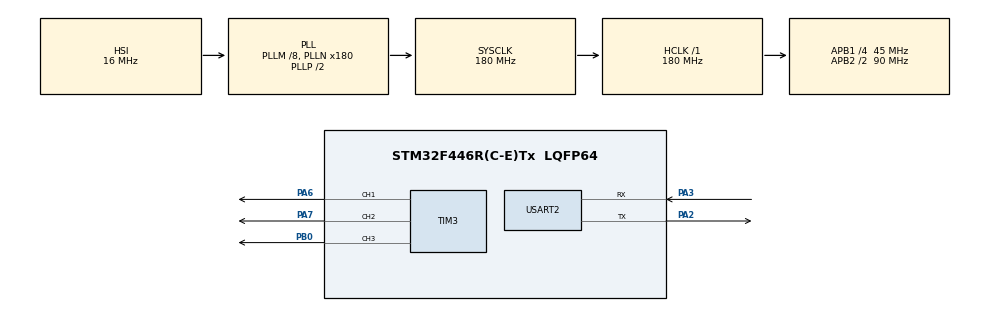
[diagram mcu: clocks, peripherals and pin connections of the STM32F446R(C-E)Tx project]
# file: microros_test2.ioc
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Dma.Request0=USART2_RX
Dma.Request1=USART2_TX
Dma.USART2_RX.0.Direction=DMA_PERIPH_TO_MEMORY
Dma.USART2_RX.0.FIFOMode=DMA_FIFOMODE_DISABLE
Dma.USART2_RX.0.Instance=DMA1_Stream5
Dma.USART2_RX.0.MemDataAlignment=DMA_MDATAALIGN_BYTE
Dma.USART2_RX.0.MemInc=DMA_MINC_ENABLE
Dma.USART2_RX.0.Mode=DMA_CIRCULAR
Dma.USART2_RX.0.PeriphDataAlignment=DMA_PDATAALIGN_BYTE
Dma.USART2_RX.0.PeriphInc=DMA_PINC_DISABLE
Dma.USART2_RX.0.Priority=DMA_PRIORITY_VERY_HIGH
Dma.USART2_TX.1.Direction=DMA_MEMORY_TO_PERIPH
Dma.USART2_TX.1.FIFOMode=DMA_FIFOMODE_DISABLE
Dma.USART2_TX.1.Instance=DMA1_Stream6
Dma.USART2_TX.1.MemDataAlignment=DMA_MDATAALIGN_BYTE
Dma.USART2_TX.1.MemInc=DMA_MINC_ENABLE
Dma.USART2_TX.1.Mode=DMA_NORMAL
Dma.USART2_TX.1.PeriphDataAlignment=DMA_PDATAALIGN_BYTE
Dma.USART2_TX.1.PeriphInc=DMA_PINC_DISABLE
Dma.USART2_TX.1.Priority=DMA_PRIORITY_VERY_HIGH
FREERTOS.Tasks01=defaultTask,24,3000,StartDefaultTask,Default,NULL,Dynamic,NULL,NULL;led1,24,128,Led1Task,Default,NULL,Dynamic,NULL,NULL;led2,24,128,Led2Task,Default,NULL,Dynamic,NULL,NULL
Mcu.Family=STM32F4
Mcu.Name=STM32F446R(C-E)Tx
Mcu.Package=LQFP64
NVIC.DMA1_Stream5_IRQn=true\:5\:0\:false\:false\:true\:true\:false\:true\:true
NVIC.DMA1_Stream6_IRQn=true\:5\:0\:false\:false\:true\:true\:false\:true\:true
NVIC.PriorityGroup=NVIC_PRIORITYGROUP_4
NVIC.TIM1_UP_TIM10_IRQn=true\:15\:0\:false\:false\:true\:false\:false\:true\:true
NVIC.TimeBase=TIM1_UP_TIM10_IRQn
NVIC.TimeBaseIP=TIM1
NVIC.USART2_IRQn=true\:5\:0\:false\:false\:true\:true\:true\:true\:true
PA2.Mode=Asynchronous
PA2.Signal=USART2_TX
PA3.Mode=Asynchronous
PA3.Signal=USART2_RX
PA6.Signal=S_TIM3_CH1
PA7.Signal=S_TIM3_CH2
PB0.Signal=S_TIM3_CH3
PH0-OSC_IN.Mode=HSE-External-Oscillator
PH0-OSC_IN.Signal=RCC_OSC_IN
PH1-OSC_OUT.Mode=HSE-External-Oscillator
PH1-OSC_OUT.Signal=RCC_OSC_OUT
ProjectManager.HeapSize=0x200
ProjectManager.StackSize=0x400
ProjectManager.TargetToolchain=STM32CubeIDE
RCC.AHBFreq_Value=180000000
RCC.APB1CLKDivider=RCC_HCLK_DIV4
RCC.APB1Freq_Value=45000000
RCC.APB1TimFreq_Value=90000000
RCC.APB2CLKDivider=RCC_HCLK_DIV2
RCC.APB2Freq_Value=90000000
RCC.APB2TimFreq_Value=180000000
RCC.CortexFreq_Value=180000000
RCC.HCLKFreq_Value=180000000
RCC.PLLM=8
RCC.PLLN=180
RCC.SYSCLKFreq_VALUE=180000000
RCC.SYSCLKSource=RCC_SYSCLKSOURCE_PLLCLK
RCC.USBFreq_Value=180000000
RCC.VCOOutputFreq_Value=360000000
SH.S_TIM3_CH1.0=TIM3_CH1,PWM Generation1 CH1
SH.S_TIM3_CH2.0=TIM3_CH2,PWM Generation2 CH2
SH.S_TIM3_CH3.0=TIM3_CH3,PWM Generation3 CH3
TIM3.AutoReloadPreload=TIM_AUTORELOAD_PRELOAD_ENABLE
TIM3.Channel-PWM\ Generation1\ CH1=TIM_CHANNEL_1
TIM3.Channel-PWM\ Generation2\ CH2=TIM_CHANNEL_2
TIM3.Channel-PWM\ Generation3\ CH3=TIM_CHANNEL_3
USART2.VirtualMode=VM_ASYNC
VP_FREERTOS_VS_CMSIS_V2.Mode=CMSIS_V2
VP_SYS_VS_tim1.Mode=TIM1
VP_TIM3_VS_ClockSourceINT.Mode=Internal
board=custom

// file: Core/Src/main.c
/* USER CODE BEGIN Header */
/**
  ******************************************************************************
  * @file           : main.c
  * @brief          : Main program body
  ******************************************************************************
  * @attention
  *
  * Copyright (c) 2023 STMicroelectronics.
  * All rights reserved.
  *
  * This software is licensed under terms that can be found in the LICENSE file
  * in the root directory of this software component.
  * If no LICENSE file comes with this software, it is provided AS-IS.
  *
  ******************************************************************************
  */
/* USER CODE END Header */
#include "main.h"
#include "cmsis_os.h"
#include "dma.h"
#include "tim.h"
#include "usart.h"
#include "gpio.h"

/* USER CODE BEGIN PV */
extern double led1_timer;
extern double led1;
extern double Red;
extern double Green;
extern double Blue;
/* USER CODE END PV */

void SystemClock_Config(void);
void MX_FREERTOS_Init(void);

int main(void)
{

  /* MCU Configuration--------------------------------------------------------*/

  /* Reset of all peripherals, Initializes the Flash interface and the Systick. */
  HAL_Init();

  /* Configure the system clock */
  SystemClock_Config();

  /* Initialize all configured peripherals */
  MX_GPIO_Init();
  MX_DMA_Init();
  MX_USART2_UART_Init();
  MX_TIM3_Init();
  /* USER CODE BEGIN 2 */
  HAL_TIM_PWM_Start(&htim3, TIM_CHANNEL_1);
  HAL_TIM_PWM_Start(&htim3, TIM_CHANNEL_2);
  HAL_TIM_PWM_Start(&htim3, TIM_CHANNEL_3);
  /* USER CODE END 2 */

  /* Init scheduler */
  osKernelInitialize();  /* Call init function for freertos objects (in freertos.c) */
  MX_FREERTOS_Init();

  /* Start scheduler */
  osKernelStart();

  /* We should never get here as control is now taken by the scheduler */
  /* Infinite loop */
  while (1)
  {

    /* USER CODE BEGIN 3 */
	  //TIM3->CCR1=led1*1000;
	  TIM3->CCR1=Red;
	  	TIM3->CCR2=Green;
	  	TIM3->CCR3=Blue;
  }
  /* USER CODE END 3 */
}

void SystemClock_Config(void)
{
  RCC_OscInitTypeDef RCC_OscInitStruct = {0};
  RCC_ClkInitTypeDef RCC_ClkInitStruct = {0};

  /** Configure the main internal regulator output voltage
  */
  __HAL_RCC_PWR_CLK_ENABLE();
  __HAL_PWR_VOLTAGESCALING_CONFIG(PWR_REGULATOR_VOLTAGE_SCALE1);

  /** Initializes the RCC Oscillators according to the specified parameters
  * in the RCC_OscInitTypeDef structure.
  */
  RCC_OscInitStruct.OscillatorType = RCC_OSCILLATORTYPE_HSI;
  RCC_OscInitStruct.HSIState = RCC_HSI_ON;
  RCC_OscInitStruct.HSICalibrationValue = RCC_HSICALIBRATION_DEFAULT;
  RCC_OscInitStruct.PLL.PLLState = RCC_PLL_ON;
  RCC_OscInitStruct.PLL.PLLSource = RCC_PLLSOURCE_HSI;
  RCC_OscInitStruct.PLL.PLLM = 8;
  RCC_OscInitStruct.PLL.PLLN = 180;
  RCC_OscInitStruct.PLL.PLLP = RCC_PLLP_DIV2;
  RCC_OscInitStruct.PLL.PLLQ = 2;
  RCC_OscInitStruct.PLL.PLLR = 2;
  if (HAL_RCC_OscConfig(&RCC_OscInitStruct) != HAL_OK)
  {
    Error_Handler();
  }

  /** Activate the Over-Drive mode
  */
  if (HAL_PWREx_EnableOverDrive() != HAL_OK)
  {
    Error_Handler();
  }

  /** Initializes the CPU, AHB and APB buses clocks
  */
  RCC_ClkInitStruct.ClockType = RCC_CLOCKTYPE_HCLK|RCC_CLOCKTYPE_SYSCLK
                              |RCC_CLOCKTYPE_PCLK1|RCC_CLOCKTYPE_PCLK2;
  RCC_ClkInitStruct.SYSCLKSource = RCC_SYSCLKSOURCE_PLLCLK;
  RCC_ClkInitStruct.AHBCLKDivider = RCC_SYSCLK_DIV1;
  RCC_ClkInitStruct.APB1CLKDivider = RCC_HCLK_DIV4;
  RCC_ClkInitStruct.APB2CLKDivider = RCC_HCLK_DIV2;

  if (HAL_RCC_ClockConfig(&RCC_ClkInitStruct, FLASH_LATENCY_5) != HAL_OK)
  {
    Error_Handler();
  }
}

void HAL_TIM_PeriodElapsedCallback(TIM_HandleTypeDef *htim)
{
  if (htim->Instance == TIM1) {
    HAL_IncTick();
  }
}

void Error_Handler(void)
{
  __disable_irq();
  while (1)
  {
  }
}

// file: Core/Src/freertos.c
/* USER CODE BEGIN Header */
/**
  ******************************************************************************
  * File Name          : freertos.c
  * Description        : Code for freertos applications
  ******************************************************************************
  * @attention
  *
  * Copyright (c) 2023 STMicroelectronics.
  * All rights reserved.
  *
  * This software is licensed under terms that can be found in the LICENSE file
  * in the root directory of this software component.
  * If no LICENSE file comes with this software, it is provided AS-IS.
  *
  ******************************************************************************
  */
/* USER CODE END Header */

#include "FreeRTOS.h"
#include "task.h"
#include "main.h"
#include "cmsis_os.h"

/* USER CODE BEGIN Includes */
#include <stdbool.h>
#include <rcl/rcl.h>
#include <rcl/error_handling.h>
#include <rclc/rclc.h>
#include <rclc/executor.h>
#include <uxr/client/transport.h>
#include <rmw_microxrcedds_c/config.h>
#include <rmw_microros/rmw_microros.h>

#include <std_msgs/msg/int32.h>
#include <std_msgs/msg/float32.h>
#include <std_msgs/msg/string.h>
#include "geometry_msgs/msg/twist.h"
#include <geometry_msgs/msg/vector3.h>

#include "usart.h"
#include "tim.h"
/* USER CODE END Includes */

/* USER CODE BEGIN Variables */
float Red;
float Green;
float Blue;
float led1;
float led2;
float led3;
uint16_t led1_delay;
uint16_t led2_delay;

geometry_msgs__msg__Twist twist_msg;
rcl_subscription_t subscriber;

/* USER CODE END Variables */
/* Definitions for defaultTask */
osThreadId_t defaultTaskHandle;
const osThreadAttr_t defaultTask_attributes = {
  .name = "defaultTask",
  .stack_size = 3000 * 4,
  .priority = (osPriority_t) osPriorityNormal,
};
/* Definitions for led1 */
osThreadId_t led1Handle;
const osThreadAttr_t led1_attributes = {
  .name = "led1",
  .stack_size = 128 * 4,
  .priority = (osPriority_t) osPriorityNormal,
};
/* Definitions for led2 */
osThreadId_t led2Handle;
const osThreadAttr_t led2_attributes = {
  .name = "led2",
  .stack_size = 128 * 4,
  .priority = (osPriority_t) osPriorityNormal,
};

/* USER CODE BEGIN FunctionPrototypes */
bool cubemx_transport_open(struct uxrCustomTransport * transport);
bool cubemx_transport_close(struct uxrCustomTransport * transport);
size_t cubemx_transport_write(struct uxrCustomTransport* transport, const uint8_t * buf, size_t len, uint8_t * err);
size_t cubemx_transport_read(struct uxrCustomTransport* transport, uint8_t* buf, size_t len, int timeout, uint8_t* err);

void * microros_allocate(size_t size, void * state);
void microros_deallocate(void * pointer, void * state);
void * microros_reallocate(void * pointer, size_t size, void * state);
void * microros_zero_allocate(size_t number_of_elements, size_t size_of_element, void * state);

float map(float Input, float Min_Input , float Max_Input ,float Min_Output, float Max_Output){

	return (float) ((Input - Min_Input) * (Max_Output - Min_Output) / (Max_Input - Min_Input) + Min_Output);
}

void subscription_callback(const void *msgin) {
	const geometry_msgs__msg__Twist *twist_msg = (const geometry_msgs__msg__Twist *)msgin;
	led1= twist_msg->linear.x;
	led2= twist_msg->linear.y;
	led3= twist_msg->angular.z;

	Red=map(led1,0,255,0,65535);
	Green=map(led2,0,255,0,65535);
	Blue=map(led3,0,255,0,65535);

	TIM3->CCR1=Red;
	TIM3->CCR2=Green;
	TIM3->CCR3=Blue;

}
/* USER CODE END FunctionPrototypes */

void StartDefaultTask(void *argument);
void Led1Task(void *argument);
void Led2Task(void *argument);

void MX_FREERTOS_Init(void); /* (MISRA C 2004 rule 8.1) */

void MX_FREERTOS_Init(void) {
  /* USER CODE BEGIN Init */

	//Create a Task handle
	defaultTaskHandle = osThreadNew(StartDefaultTask, NULL, &defaultTask_attributes);

	//Create Task lED
	led1Handle = osThreadNew(Led1Task, NULL, &led1_attributes);

	led2Handle = osThreadNew(Led2Task, NULL, &led2_attributes);

  /* USER CODE END Init */
/* USER CODE BEGIN Header */
/**
  ******************************************************************************
  * File Name          : freertos.c
  * Description        : Code for freertos applications
  ******************************************************************************
  * @attention
  *
  * Copyright (c) 2023 STMicroelectronics.
  * All rights reserved.
  *
  * This software is licensed under terms that can be found in the LICENSE file
  * in the root directory of this software component.
  * If no LICENSE file comes with this software, it is provided AS-IS.
  *
  ******************************************************************************
  */
/* USER CODE END Header */

}

void StartDefaultTask(void *argument)
{
  /* USER CODE BEGIN StartDefaultTask */
  /* Infinite loop */
	rmw_uros_set_custom_transport(
			    true,
			    (void *) &huart2,
			    cubemx_transport_open,
			    cubemx_transport_close,
			    cubemx_transport_write,
			    cubemx_transport_read);

			  rcl_allocator_t freeRTOS_allocator = rcutils_get_zero_initialized_allocator();
			  freeRTOS_allocator.allocate = microros_allocate;
			  freeRTOS_allocator.deallocate = microros_deallocate;
			  freeRTOS_allocator.reallocate = microros_reallocate;
			  freeRTOS_allocator.zero_allocate =  microros_zero_allocate;

			  if (!rcutils_set_default_allocator(&freeRTOS_allocator)) {
			      printf("Error on default allocators (line %d)\n", __LINE__);
			  }

			  // micro-ROS App //
			  rclc_executor_t executor;
			  // Initialize micro-ROS allocator
			  rcl_allocator_t allocator;
			  allocator = rcl_get_default_allocator();

			  // Initialize support object
			  rclc_support_t support;
			  rclc_support_init(&support, 0, NULL, &allocator);

			  // Create node object
			  rcl_node_t node;
			  rclc_node_init_default(&node, "stm32f446re_node", "", &support);

			  //Create Subscription
			  const char * sub_topic_name = "/cmd_vel";
			  const rosidl_message_type_support_t * sub_type_support = ROSIDL_GET_MSG_TYPE_SUPPORT(geometry_msgs, msg, Twist);
			  rclc_subscription_init_default(
			      &subscriber,
			      &node,
				  sub_type_support,
				  sub_topic_name);

			   // create executor
			  rclc_executor_init(&executor, &support.context, 1, &allocator);
			  rclc_executor_add_subscription(&executor, &subscriber, &twist_msg, &subscription_callback, ON_NEW_DATA);

			  // Spin executor to receive messages
			  rclc_executor_prepare(&executor);
			  rclc_executor_spin(&executor);

			    for(;;)
			    {

			    	rcl_ret_t ret;
			      ret = rcl_subscription_fini(&subscriber, &node);
			      if (ret != RCL_RET_OK)
			      {
			        printf("Error publishing (line %d)\n", __LINE__);
			      }
			      osDelay(10);
			    }

  /* USER CODE END StartDefaultTask */
}

void Led1Task(void *argument)
{
  for(;;)
  {
    osDelay(1);
  }
}

void Led2Task(void *argument)
{
  /* USER CODE BEGIN Led2Task */
  /* Infinite loop */
  for(;;)
  {
	  //TIM3->CCR1= (twist_msg.x)*100 ;

    osDelay(1);
  }
  /* USER CODE END Led2Task */
}
